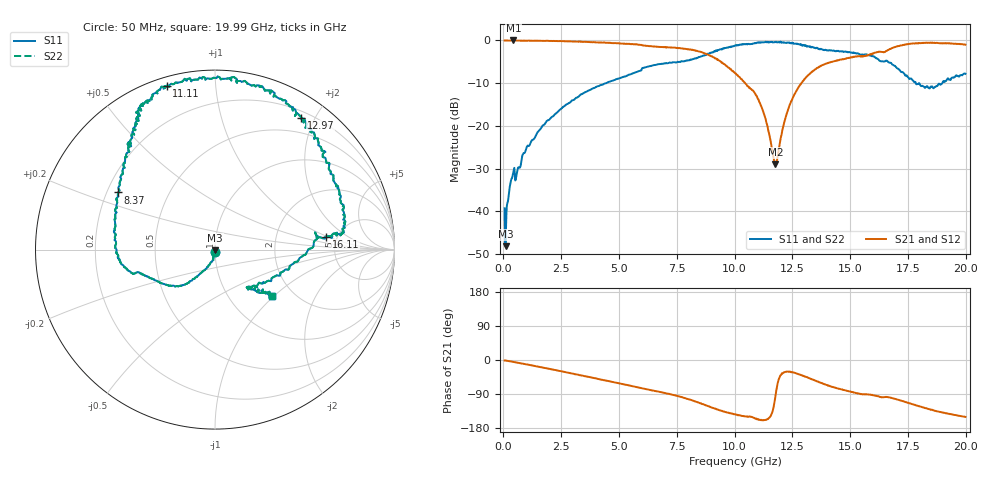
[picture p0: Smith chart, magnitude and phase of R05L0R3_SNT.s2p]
! 250R05L0R3CV4
! Data taken January 31, 2003
! Data taken on a HP 8720C VNA using a shunt-through test fixture and TRL* de-embedding
#	mhz	s	ma	r	50
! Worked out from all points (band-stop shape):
!   998 points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, 50 MHz to 19.99 GHz, reference 50 ohm
!   highest |S21| = 0.00 dB at 430 MHz (marker M1); lowest = -29.0 dB at 11.77 GHz (marker M2)
!   |S21| within 3 dB of the highest: start of sweep to 8.687 GHz; 16.02 GHz to end of sweep
!   lowest |S11| = -48.2 dB at 90 MHz (marker M3), VSWR 1.01, Z = 50 - j0.39 ohm
!   |S11| at or under -10 dB: start of sweep to 4.451 GHz; 17.85 GHz to 18.99 GHz (1.143 GHz wide, 6.21 % of centre)
!   |S22| runs from -48.2 to -0.3 dB; largest |S21 - S12| = 0
!   S11 on the Smith chart (normalised r, x): 50 MHz: 1.00, -0.02; 8.37 GHz: 0.25, +0.26; 11.11 GHz: 0.04, +0.75; 12.97 GHz: 0.28, +1.82; 16.11 GHz: 4.07, +0.97; 19.99 GHz: 1.56, -0.96
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50  0.01081 -88.0  1 -1.3  1 -1.3  0.01081 -88.0
90  0.0039 -90.7  0.9979 -1.2  0.9979 -1.2  0.0039 -90.7
290  0.02048 -86.5  0.9986 -3.5  0.9986 -3.5  0.02048 -86.5
430  0.02912 -87.4  1 -5.2  1 -5.2  0.02912 -87.4
1670  0.09868 -112.3  0.9905 -19.6  0.9905 -19.6  0.09868 -112.3
3390  0.235 -128.5  0.9641 -41.0  0.9641 -41.0  0.235 -128.5
5170  0.3728 -152.7  0.9207 -63.8  0.9207 -63.8  0.3728 -152.7
6710  0.5275 -171.0  0.8408 -83.5  0.8408 -83.5  0.5275 -171.0
8370  0.6258 149.4  0.7565 -110.8  0.7565 -110.8  0.6258 149.4
9210  0.7685 128.8  0.6124 -129.8  0.6124 -129.8  0.7685 128.8
10030  0.8691 119.3  0.4116 -143.4  0.4116 -143.4  0.8691 119.3
11110  0.9518 106.4  0.1821 -158.3  0.1821 -158.3  0.9518 106.4
11770  0.9563 89.6  0.0355 -95.4  0.0355 -95.4  0.9563 89.6
12310  0.9473 74.9  0.1533 -30.7  0.1533 -30.7  0.9473 74.9
12970  0.8795 56.8  0.3364 -42.4  0.3364 -42.4  0.8795 56.8
13350  0.8436 47.2  0.4318 -51.1  0.4318 -51.1  0.8436 47.2
14870  0.7375 11.0  0.621 -81.5  0.621 -81.5  0.7375 11.0
16110  0.6235 6.7  0.7228 -94.4  0.7228 -94.4  0.6235 6.7
16670  0.5532 4.5  0.7782 -98.4  0.7782 -98.4  0.5532 4.5
17450  0.3903 -21.8  0.9079 -111.8  0.9079 -111.8  0.3903 -21.8
18230  0.2796 -48.0  0.9352 -126.8  0.9352 -126.8  0.2796 -48.0
19990  0.4077 -39.2  0.8936 -150.2  0.8936 -150.2  0.4077 -39.2
